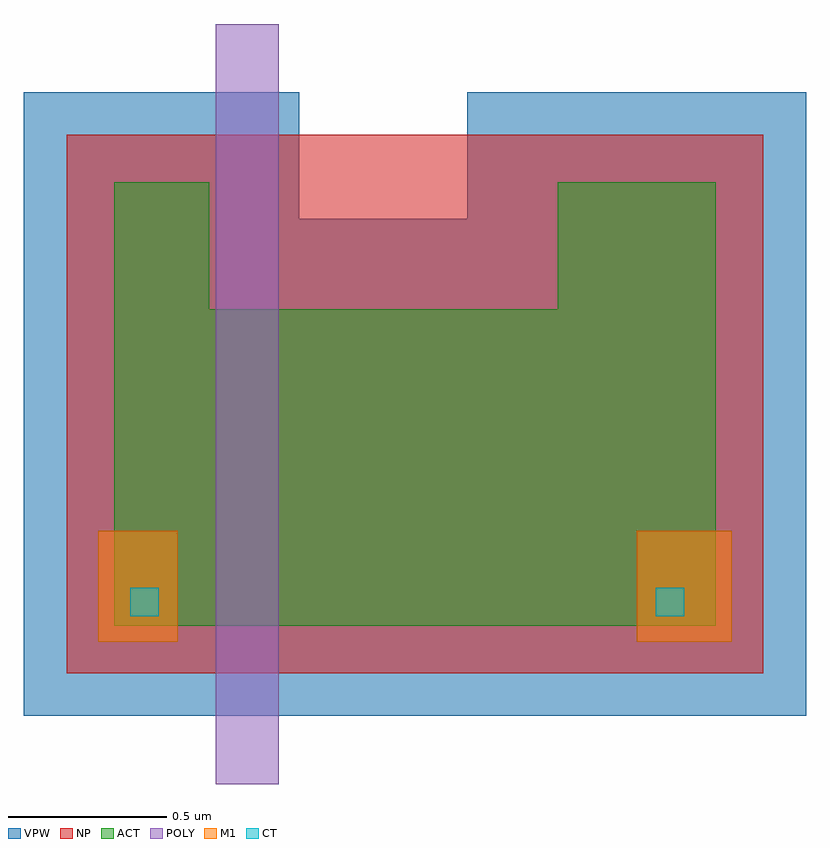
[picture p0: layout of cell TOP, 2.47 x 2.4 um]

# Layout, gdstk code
import gdstk
lib = gdstk.Library(unit=1e-6, precision=1e-09)
def R(c, l, rs):  # rectangles x0, y0, x1, y1
    for r in rs: c.add(gdstk.rectangle(r[:2], r[2:], *l))
def P(c, l, *ps):  # polygons
    for p in ps: c.add(gdstk.Polygon(p, *l))
ACT = (2, 1)
POLY = (41, 1)
NP = (52, 1)
CT = (72, 1)
M1 = (81, 1)
VPW = (261, 12)

top = lib.new_cell('TOP')
P(top, ACT, [(0,0),(0,1.4),(0.3,1.4),(0.3,1),(1.4,1),(1.4,1.4),(1.9,1.4),(1.9,0)])
R(top, POLY, [(0.32,-0.5,0.52,1.9)])
R(top, NP, [(-0.15,-0.15,2.05,1.55)])
R(top, CT, [(0.05,0.03,0.14,0.12), (1.71,0.03,1.8,0.12)])
R(top, M1, [(-0.05,-0.05,0.2,0.3), (1.65,-0.05,1.95,0.3)])
P(top, VPW, [(-0.285,-0.285),(-0.285,1.685),(0.585,1.685),(0.585,1.285),(1.115,1.285),(1.115,1.685),(2.185,1.685),(2.185,-0.285)])

lib.write_gds('TOP.gds')
